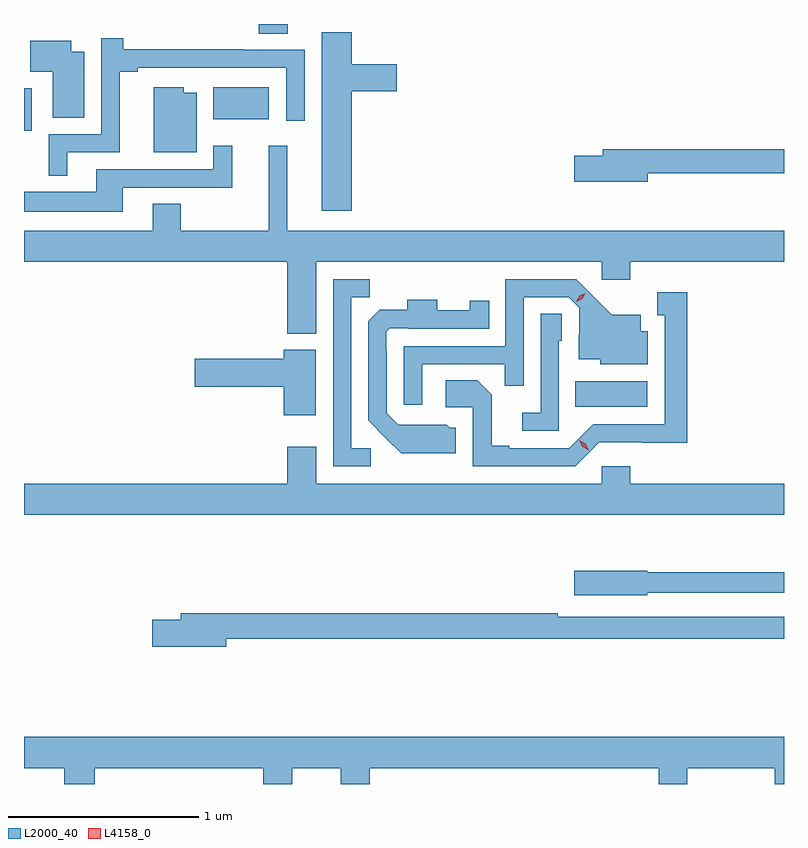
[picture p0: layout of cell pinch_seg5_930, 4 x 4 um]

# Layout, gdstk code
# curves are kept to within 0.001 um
import gdstk
lib = gdstk.Library(unit=1e-6, precision=1e-09)
def R(c, l, rs):  # rectangles x0, y0, x1, y1
    for r in rs: c.add(gdstk.rectangle(r[:2], r[2:], *l))
def P(c, l, *ps):  # polygons
    for p in ps: c.add(gdstk.Polygon(p, *l))
L2000_40 = (2000, 40)
L4158_0 = (4158, 0)

pinch_seg5_930 = lib.new_cell('pinch_seg5_930')
R(pinch_seg5_930, L2000_40, [(684.598,894.626,684.979,894.76), (681.698,896.078,681.739,896.302), (682.694,896.138,682.987,896.308), (682.934,896.59,683.086,896.64)])
P(pinch_seg5_930, L2000_40, [(683.423,896.285),(683.659,896.285),(683.659,896.427),(683.423,896.427),(683.423,896.596),(683.264,896.596),(683.264,895.656),(683.423,895.656)],
  [(681.925,895.965),(682.202,895.965),(682.202,896.389),(682.297,896.389),(682.297,896.409),(683.079,896.409),(683.079,896.13),(683.175,896.13),(683.175,896.505),(682.85,896.505),(682.85,896.507),(682.22,896.507),(682.22,896.566),(682.104,896.566),(682.104,896.061),(681.827,896.061),(681.827,895.841),(681.925,895.841)],
  [(682.015,896.494),(681.946,896.494),(681.946,896.551),(681.73,896.551),(681.73,896.39),(681.848,896.39),(681.848,896.146),(682.015,896.146)],
  [(682.606,896.278),(682.54,896.278),(682.54,896.308),(682.382,896.308),(682.382,895.964),(682.606,895.964)],
  [(683.236,895.388),(684.738,895.388),(684.738,895.293),(684.89,895.293),(684.89,895.388),(685.698,895.388),(685.698,895.552),(683.084,895.552),(683.084,895.999),(682.985,895.999),(682.985,895.552),(682.524,895.552),(682.524,895.694),(682.376,895.694),(682.376,895.552),(681.698,895.552),(681.698,895.388),(683.084,895.388),(683.084,895.01),(683.236,895.01)],
  [(682.219,895.779),(682.793,895.779),(682.793,895.999),(682.695,895.999),(682.695,895.875),(682.079,895.875),(682.079,895.756),(681.698,895.756),(681.698,895.652),(682.219,895.652)],
  [(684.982,895.854),(685.698,895.854),(685.698,895.982),(684.743,895.982),(684.743,895.946),(684.594,895.946),(684.594,895.811),(684.982,895.811)],
  [(683.793,894.849),(684.229,894.849),(684.229,894.736),(684.327,894.736),(684.327,895.203),(684.564,895.203),(684.621,895.146),(684.621,895.004),(684.617,895.004),(684.617,894.875),(684.732,894.875),(684.732,894.848),(684.982,894.848),(684.982,895.024),(684.943,895.024),(684.943,895.111),(684.791,895.111),(684.604,895.296),(684.231,895.296),(684.231,894.945),(683.697,894.945),(683.697,894.636),(683.793,894.636)],
  [(683.524,894.408),(683.421,894.408),(683.421,895.201),(683.517,895.201),(683.517,895.296),(683.325,895.296),(683.325,894.312),(683.524,894.312)],
  [(684.726,894.438),(685.189,894.437),(685.189,895.228),(685.031,895.228),(685.031,895.107),(685.07,895.107),(685.07,894.534),(684.693,894.534),(684.567,894.408),(684.253,894.408),(684.253,894.421),(684.159,894.421),(684.159,894.688),(684.083,894.764),(683.919,894.764),(683.919,894.624),(684.06,894.624),(684.06,894.312),(684.6,894.312)],
  [(683.971,894.516),(683.94,894.516),(683.924,894.532),(683.667,894.531),(683.607,894.591),(683.607,894.92),(683.604,894.92),(683.604,895.02),(683.622,895.038),(683.722,895.038),(683.722,895.035),(684.146,895.035),(684.146,895.183),(684.045,895.183),(684.045,895.134),(683.872,895.134),(683.872,895.189),(683.714,895.189),(683.714,895.135),(683.57,895.135),(683.511,895.076),(683.511,894.554),(683.683,894.38),(683.971,894.38)],
  [(684.513,894.972),(684.528,894.972),(684.528,895.115),(684.417,895.115),(684.417,894.595),(684.321,894.595),(684.321,894.498),(684.513,894.498)],
  [(683.233,894.925),(683.066,894.925),(683.066,894.878),(682.596,894.878),(682.596,894.731),(683.066,894.731),(683.066,894.582),(683.233,894.582)],
  [(685.698,894.22),(684.89,894.22),(684.89,894.313),(684.738,894.313),(684.738,894.22),(683.236,894.22),(683.236,894.415),(683.084,894.415),(683.084,894.22),(681.698,894.22),(681.698,894.056),(685.698,894.056)],
  [(684.978,893.646),(685.698,893.646),(685.698,893.755),(684.978,893.755),(684.978,893.763),(684.594,893.763),(684.594,893.633),(684.978,893.633)],
  [(682.762,893.404),(685.698,893.404),(685.698,893.52),(684.506,893.52),(684.506,893.54),(682.523,893.54),(682.523,893.504),(682.374,893.504),(682.374,893.362),(682.762,893.362)],
  [(682.07,892.724),(682.958,892.724),(682.958,892.64),(683.11,892.64),(683.11,892.724),(683.366,892.724),(683.366,892.64),(683.519,892.64),(683.519,892.724),(685.04,892.724),(685.04,892.64),(685.188,892.64),(685.188,892.724),(685.649,892.724),(685.649,892.64),(685.698,892.64),(685.698,892.888),(681.698,892.888),(681.698,892.724),(681.91,892.724),(681.91,892.64),(682.07,892.64)])
P(pinch_seg5_930, L4158_0, [(684.67,894.397),(684.639,894.416),(684.621,894.448),(684.621,894.448),(684.621,894.448),(684.653,894.43),(684.67,894.397),(684.67,894.397)],
  [(684.605,895.178),(684.605,895.179),(684.622,895.209),(684.652,895.224),(684.653,895.224),(684.653,895.224),(684.636,895.194),(684.605,895.178)])

lib.write_gds('pinch_seg5_930.gds')
